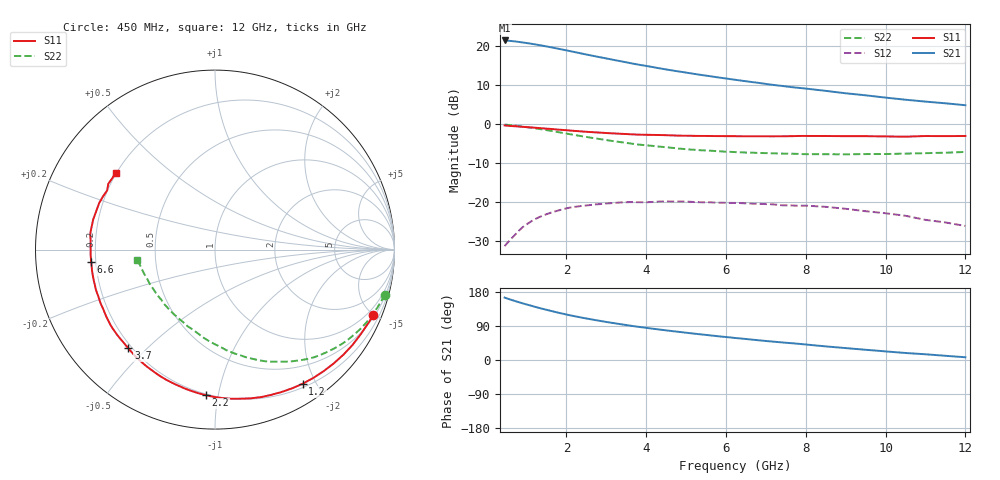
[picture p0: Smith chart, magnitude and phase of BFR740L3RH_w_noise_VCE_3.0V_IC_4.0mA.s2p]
! (c) 2012  Infineon Technologies AG, Munich
! Infineon Technologies  Discrete & RF Semiconductors
! BFR740L3RH
! VCE =  3.0 V,  IC =  4.0 mA
! Common Emitter S-Parameters:  May 2012
# GHz  S  MA  R  50
!  f  S11  S21  S12  S22
! GHz  MAG  ANG  MAG  ANG  MAG  ANG  MAG  ANG
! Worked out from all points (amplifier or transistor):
!   85 points, 450 MHz to 12 GHz, reference 50 ohm
!   highest |S21| = 21.3 dB at 450 MHz (marker M1)
!   |S21| within 3 dB of that: start of sweep to 2.22 GHz
!   unconditionally stable (mu >= 1): 9.434 GHz to end of sweep
!   at 1.8 GHz: K = 0.12, MSG = 20.7 dB, |S12| = -22.1 dB
!   at 4.6 GHz: K = 0.33, MSG = 16.8 dB, |S12| = -19.9 dB
!   at 12 GHz: K = 2.15, MAG = 9.4 dB, |S12| = -26.1 dB
!   lowest NFmin = 0.35 dB at 450 MHz
!   S11 on the Smith chart (normalised r, x): 450 MHz: 0.59, -4.96; 1.2 GHz: 0.25, -1.82; 2.2 GHz: 0.19, -0.92; 3.7 GHz: 0.19, -0.44; 6.6 GHz: 0.18, -0.05; 12 GHz: 0.20, +0.33
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0.45  0.9553 -22.5  11.64 164.7  0.0273 67.2  0.979 -14.9
0.6  0.9394 -29.9  11.48 159.3  0.0333 71.5  0.961 -19.6
0.8  0.9245 -39.3  11.16 152.7  0.0427 65.5  0.9364 -25.7
1  0.9084 -48.2  10.79 146.6  0.0518 60.3  0.9089 -31.4
1.2  0.893 -56.8  10.4 140.7  0.06 54.5  0.8795 -36.9
1.4  0.8757 -65.0  9.977 135.1  0.0669 50.4  0.8472 -42.2
1.7  0.8522 -76.5  9.331 127.3  0.0756 43.3  0.8001 -49.5
2  0.8288 -87.1  8.696 120.0  0.0832 37.5  0.7513 -56.1
2.2  0.8131 -93.5  8.283 115.6  0.0867 33.9  0.7198 -60.1
2.4  0.7981 -99.7  7.884 111.5  0.0895 30.8  0.6938 -64.1
2.7  0.7797 -107.8  7.345 105.8  0.0932 25.9  0.6544 -69.5
3  0.7633 -115.6  6.855 100.4  0.096 21.9  0.6205 -74.4
3.3  0.749 -122.8  6.401 95.4  0.0984 17.5  0.5892 -79.3
3.7  0.7318 -131.3  5.844 89.1  0.0997 13.4  0.5523 -85.3
4.3  0.72 -142.1  5.164 80.8  0.1013 7.0  0.5134 -93.1
5.2  0.7021 -156.6  4.355 69.6  0.1002 -0.7  0.4662 -104.4
6.3  0.6947 -170.7  3.617 57.4  0.0974 -8.7  0.434 -117.6
6.6  0.693 -174.3  3.447 54.3  0.0959 -11.0  0.4283 -121.1
7.2  0.6928 179.3  3.138 48.3  0.0932 -14.7  0.4196 -128.0
8.5  0.6991 166.2  2.64 35.9  0.0869 -23.9  0.4092 -142.1
10.5  0.6854 151.3  2.034 18.5  0.0668 -33.6  0.4165 -160.8
12  0.6995 142.3  1.73 7.2  0.0494 -34.0  0.4373 -172.7
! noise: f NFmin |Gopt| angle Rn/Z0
0.45  0.35  0.51  4  0.17
0.9  0.37  0.5  16  0.17
1.5  0.4  0.51  30  0.15
1.9  0.43  0.52  38  0.15
2.4  0.48  0.51  47  0.15
3.5  0.58  0.51  68  0.13
5.5  0.8  0.56  99  0.1
8  1.08  0.5  137  0.08
10  1.29  0.51  162  0.05
12  1.5  0.56  -163  0.04
